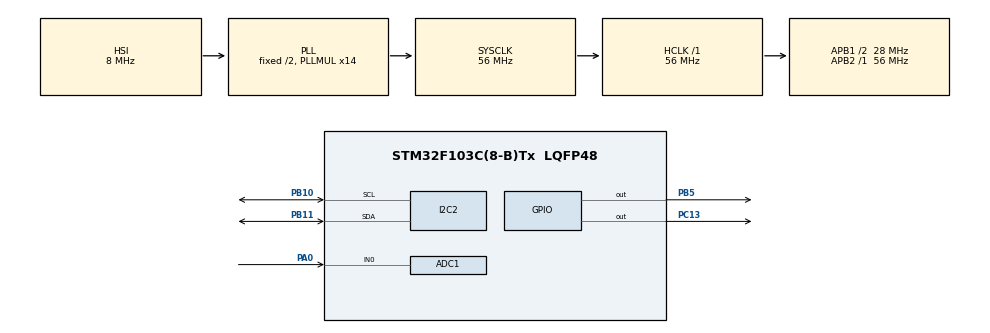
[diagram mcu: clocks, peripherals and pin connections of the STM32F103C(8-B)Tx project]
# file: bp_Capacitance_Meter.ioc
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ADC1.Channel-0\#ChannelRegularConversion=ADC_CHANNEL_0
ADC1.NbrOfConversionFlag=1
ADC1.Rank-0\#ChannelRegularConversion=1
ADC1.SamplingTime-0\#ChannelRegularConversion=ADC_SAMPLETIME_1CYCLE_5
ADC1.master=1
I2C2.I2C_Mode=I2C_Fast
Mcu.Family=STM32F1
Mcu.Name=STM32F103C(8-B)Tx
Mcu.Package=LQFP48
NVIC.PriorityGroup=NVIC_PRIORITYGROUP_4
NVIC.TIM2_IRQn=true\:0\:0\:false\:false\:true\:true
PA0-WKUP.Signal=ADCx_IN0
PA13.Mode=Serial_Wire
PA13.Signal=SYS_JTMS-SWDIO
PA14.Mode=Serial_Wire
PA14.Signal=SYS_JTCK-SWCLK
PB10.Mode=I2C
PB10.Signal=I2C2_SCL
PB11.Mode=I2C
PB11.Signal=I2C2_SDA
PB5.Signal=GPIO_Output
PC13-TAMPER-RTC.Signal=GPIO_Output
ProjectManager.HeapSize=0x200
ProjectManager.StackSize=0x400
ProjectManager.TargetToolchain=TrueSTUDIO
RCC.ADCPresc=RCC_ADCPCLK2_DIV4
RCC.AHBFreq_Value=56000000
RCC.APB1CLKDivider=RCC_HCLK_DIV2
RCC.APB1Freq_Value=28000000
RCC.APB1TimFreq_Value=56000000
RCC.APB2Freq_Value=56000000
RCC.APB2TimFreq_Value=56000000
RCC.HCLKFreq_Value=56000000
RCC.PLLMUL=RCC_PLL_MUL14
RCC.SYSCLKFreq_VALUE=56000000
RCC.SYSCLKSource=RCC_SYSCLKSOURCE_PLLCLK
RCC.USBFreq_Value=56000000
SH.ADCx_IN0.0=ADC1_IN0,IN0
TIM2.Period=63
TIM2.Prescaler=27
VP_TIM2_VS_ClockSourceINT.Mode=Internal
board=custom

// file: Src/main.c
/* USER CODE BEGIN Header */
/**
  ******************************************************************************
  * @file           : main.c
  * @brief          : Main program body
  ******************************************************************************
  ** This notice applies to any and all portions of this file
  * that are not between comment pairs USER CODE BEGIN and
  * USER CODE END. Other portions of this file, whether
  * inserted by the user or by software development tools
  * are owned by their respective copyright owners.
  *
  * COPYRIGHT(c) 2019 STMicroelectronics
  *
  * Redistribution and use in source and binary forms, with or without modification,
  * are permitted provided that the following conditions are met:
  *   1. Redistributions of source code must retain the above copyright notice,
  *      this list of conditions and the following disclaimer.
  *   2. Redistributions in binary form must reproduce the above copyright notice,
  *      this list of conditions and the following disclaimer in the documentation
  *      and/or other materials provided with the distribution.
  *   3. Neither the name of STMicroelectronics nor the names of its contributors
  *      may be used to endorse or promote products derived from this software
  *      without specific prior written permission.
  *
  * THIS SOFTWARE IS PROVIDED BY THE COPYRIGHT HOLDERS AND CONTRIBUTORS "AS IS"
  * AND ANY EXPRESS OR IMPLIED WARRANTIES, INCLUDING, BUT NOT LIMITED TO, THE
  * IMPLIED WARRANTIES OF MERCHANTABILITY AND FITNESS FOR A PARTICULAR PURPOSE ARE
  * DISCLAIMED. IN NO EVENT SHALL THE COPYRIGHT HOLDER OR CONTRIBUTORS BE LIABLE
  * FOR ANY DIRECT, INDIRECT, INCIDENTAL, SPECIAL, EXEMPLARY, OR CONSEQUENTIAL
  * DAMAGES (INCLUDING, BUT NOT LIMITED TO, PROCUREMENT OF SUBSTITUTE GOODS OR
  * SERVICES; LOSS OF USE, DATA, OR PROFITS; OR BUSINESS INTERRUPTION) HOWEVER
  * CAUSED AND ON ANY THEORY OF LIABILITY, WHETHER IN CONTRACT, STRICT LIABILITY,
  * OR TORT (INCLUDING NEGLIGENCE OR OTHERWISE) ARISING IN ANY WAY OUT OF THE USE
  * OF THIS SOFTWARE, EVEN IF ADVISED OF THE POSSIBILITY OF SUCH DAMAGE.
  *
  ******************************************************************************
  */
/* USER CODE END Header */

#include "main.h"

/* USER CODE BEGIN Includes */
#include "ssd1306.h"
/* USER CODE END Includes */

/* USER CODE BEGIN PD */
#define TEST_MAX 10
/* USER CODE END PD */

ADC_HandleTypeDef hadc1;

I2C_HandleTypeDef hi2c2;

TIM_HandleTypeDef htim2;

void SystemClock_Config(void);
static void MX_GPIO_Init(void);
static void MX_TIM2_Init(void);
static void MX_ADC1_Init(void);
static void MX_I2C2_Init(void);
/* USER CODE BEGIN PFP */
void test_Capacitor(void);
void discharge_cap(void);
/* USER CODE END PFP */

/* USER CODE BEGIN 0 */
static uint32_t cuenta = 0;
static uint16_t data_adc = 0;
static uint16_t cuenta_array[TEST_MAX];
static uint8_t n_test = 0;

static uint8_t charge_flag = 0;
static uint8_t discharge_flag = 0;

/* USER CODE END 0 */

int main(void)
{

  /* MCU Configuration--------------------------------------------------------*/

  /* Reset of all peripherals, Initializes the Flash interface and the Systick. */
  HAL_Init();

  /* Configure the system clock */
  SystemClock_Config();

  /* Initialize all configured peripherals */
  MX_GPIO_Init();
  MX_TIM2_Init();
  MX_ADC1_Init();
  MX_I2C2_Init();
  /* USER CODE BEGIN 2 */
  set_oled_addr(0x78);
  ssd1306_sel_I2C(&hi2c2);
  SSD1306_Init ();
  SSD1306_GotoXY(20, 0);
  SSD1306_Puts("...", &Font_11x18, 1);
  SSD1306_UpdateScreen();

  HAL_ADCEx_Calibration_Start(&hadc1);

  HAL_GPIO_WritePin(GPIOB, GPIO_PIN_5, 1);
  HAL_Delay(200);
  discharge_cap();

  /* USER CODE END 2 */

  /* Infinite loop */
  /* USER CODE BEGIN WHILE */
  while (1)
  {
//	  HAL_Delay(500);
//	  HAL_GPIO_TogglePin(GPIOC, GPIO_PIN_13);
    /* USER CODE END WHILE */

  }
}

void SystemClock_Config(void)
{
  RCC_OscInitTypeDef RCC_OscInitStruct = {0};
  RCC_ClkInitTypeDef RCC_ClkInitStruct = {0};
  RCC_PeriphCLKInitTypeDef PeriphClkInit = {0};

  /**Initializes the CPU, AHB and APB busses clocks
  */
  RCC_OscInitStruct.OscillatorType = RCC_OSCILLATORTYPE_HSI;
  RCC_OscInitStruct.HSIState = RCC_HSI_ON;
  RCC_OscInitStruct.HSICalibrationValue = RCC_HSICALIBRATION_DEFAULT;
  RCC_OscInitStruct.PLL.PLLState = RCC_PLL_ON;
  RCC_OscInitStruct.PLL.PLLSource = RCC_PLLSOURCE_HSI_DIV2;
  RCC_OscInitStruct.PLL.PLLMUL = RCC_PLL_MUL14;
  if (HAL_RCC_OscConfig(&RCC_OscInitStruct) != HAL_OK)
  {
    Error_Handler();
  }
  /**Initializes the CPU, AHB and APB busses clocks
  */
  RCC_ClkInitStruct.ClockType = RCC_CLOCKTYPE_HCLK|RCC_CLOCKTYPE_SYSCLK
                              |RCC_CLOCKTYPE_PCLK1|RCC_CLOCKTYPE_PCLK2;
  RCC_ClkInitStruct.SYSCLKSource = RCC_SYSCLKSOURCE_PLLCLK;
  RCC_ClkInitStruct.AHBCLKDivider = RCC_SYSCLK_DIV1;
  RCC_ClkInitStruct.APB1CLKDivider = RCC_HCLK_DIV2;
  RCC_ClkInitStruct.APB2CLKDivider = RCC_HCLK_DIV1;

  if (HAL_RCC_ClockConfig(&RCC_ClkInitStruct, FLASH_LATENCY_2) != HAL_OK)
  {
    Error_Handler();
  }
  PeriphClkInit.PeriphClockSelection = RCC_PERIPHCLK_ADC;
  PeriphClkInit.AdcClockSelection = RCC_ADCPCLK2_DIV4;
  if (HAL_RCCEx_PeriphCLKConfig(&PeriphClkInit) != HAL_OK)
  {
    Error_Handler();
  }
}

static void MX_ADC1_Init(void)
{

  ADC_ChannelConfTypeDef sConfig = {0};

  /**Common config
  */
  hadc1.Instance = ADC1;
  hadc1.Init.ScanConvMode = ADC_SCAN_DISABLE;
  hadc1.Init.ContinuousConvMode = DISABLE;
  hadc1.Init.DiscontinuousConvMode = DISABLE;
  hadc1.Init.ExternalTrigConv = ADC_SOFTWARE_START;
  hadc1.Init.DataAlign = ADC_DATAALIGN_RIGHT;
  hadc1.Init.NbrOfConversion = 1;
  if (HAL_ADC_Init(&hadc1) != HAL_OK)
  {
    Error_Handler();
  }
  /**Configure Regular Channel
  */
  sConfig.Channel = ADC_CHANNEL_0;
  sConfig.Rank = ADC_REGULAR_RANK_1;
  sConfig.SamplingTime = ADC_SAMPLETIME_1CYCLE_5;
  if (HAL_ADC_ConfigChannel(&hadc1, &sConfig) != HAL_OK)
  {
    Error_Handler();
  }

}

static void MX_I2C2_Init(void)
{

  hi2c2.Instance = I2C2;
  hi2c2.Init.ClockSpeed = 400000;
  hi2c2.Init.DutyCycle = I2C_DUTYCYCLE_2;
  hi2c2.Init.OwnAddress1 = 0;
  hi2c2.Init.AddressingMode = I2C_ADDRESSINGMODE_7BIT;
  hi2c2.Init.DualAddressMode = I2C_DUALADDRESS_DISABLE;
  hi2c2.Init.OwnAddress2 = 0;
  hi2c2.Init.GeneralCallMode = I2C_GENERALCALL_DISABLE;
  hi2c2.Init.NoStretchMode = I2C_NOSTRETCH_DISABLE;
  if (HAL_I2C_Init(&hi2c2) != HAL_OK)
  {
    Error_Handler();
  }

}

static void MX_TIM2_Init(void)
{

  TIM_ClockConfigTypeDef sClockSourceConfig = {0};
  TIM_MasterConfigTypeDef sMasterConfig = {0};

  htim2.Instance = TIM2;
  htim2.Init.Prescaler = 27;
  htim2.Init.CounterMode = TIM_COUNTERMODE_UP;
  htim2.Init.Period = 63;
  htim2.Init.ClockDivision = TIM_CLOCKDIVISION_DIV1;
  htim2.Init.AutoReloadPreload = TIM_AUTORELOAD_PRELOAD_DISABLE;
  if (HAL_TIM_Base_Init(&htim2) != HAL_OK)
  {
    Error_Handler();
  }
  sClockSourceConfig.ClockSource = TIM_CLOCKSOURCE_INTERNAL;
  if (HAL_TIM_ConfigClockSource(&htim2, &sClockSourceConfig) != HAL_OK)
  {
    Error_Handler();
  }
  sMasterConfig.MasterOutputTrigger = TIM_TRGO_RESET;
  sMasterConfig.MasterSlaveMode = TIM_MASTERSLAVEMODE_DISABLE;
  if (HAL_TIMEx_MasterConfigSynchronization(&htim2, &sMasterConfig) != HAL_OK)
  {
    Error_Handler();
  }

}

static void MX_GPIO_Init(void)
{
  GPIO_InitTypeDef GPIO_InitStruct = {0};

  /* GPIO Ports Clock Enable */
  __HAL_RCC_GPIOC_CLK_ENABLE();
  __HAL_RCC_GPIOA_CLK_ENABLE();
  __HAL_RCC_GPIOB_CLK_ENABLE();

  /*Configure GPIO pin Output Level */
  HAL_GPIO_WritePin(GPIOC, GPIO_PIN_13, GPIO_PIN_RESET);

  /*Configure GPIO pin Output Level */
  HAL_GPIO_WritePin(GPIOB, GPIO_PIN_5, GPIO_PIN_RESET);

  /*Configure GPIO pin : PC13 */
  GPIO_InitStruct.Pin = GPIO_PIN_13;
  GPIO_InitStruct.Mode = GPIO_MODE_OUTPUT_PP;
  GPIO_InitStruct.Pull = GPIO_NOPULL;
  GPIO_InitStruct.Speed = GPIO_SPEED_FREQ_LOW;
  HAL_GPIO_Init(GPIOC, &GPIO_InitStruct);

  /*Configure GPIO pin : PB5 */
  GPIO_InitStruct.Pin = GPIO_PIN_5;
  GPIO_InitStruct.Mode = GPIO_MODE_OUTPUT_PP;
  GPIO_InitStruct.Pull = GPIO_NOPULL;
  GPIO_InitStruct.Speed = GPIO_SPEED_FREQ_LOW;
  HAL_GPIO_Init(GPIOB, &GPIO_InitStruct);

}
void discharge_cap(void){
	HAL_GPIO_WritePin(GPIOB, GPIO_PIN_5, 0);
	discharge_flag = 1;
	HAL_TIM_Base_Start_IT(&htim2);
}
void test_Capacitor(void){

	if (n_test < TEST_MAX){
		HAL_GPIO_WritePin(GPIOB, GPIO_PIN_5, 1);
		cuenta = 0;
		charge_flag = 1;
		HAL_TIM_Base_Start_IT(&htim2);
	}
	else {
		double capacity = 0;
		for (uint8_t i=0; i<TEST_MAX; i++){
			capacity = (capacity*i + cuenta_array[i])/(i+1);
		}
		SSD1306_Putdouble(capacity*0.541,1, 1);
		SSD1306_GotoXY(96, 0);
		SSD1306_Puts("nF", &Font_11x18, 1);
		SSD1306_UpdateScreen();
	}
}

/* USER CODE BEGIN 4 */
void HAL_TIM_PeriodElapsedCallback(TIM_HandleTypeDef *htim){
	if(htim==&htim2){
		HAL_ADC_Start(&hadc1);
		HAL_ADC_PollForConversion(&hadc1, 1000);
		data_adc = HAL_ADC_GetValue(&hadc1);
		HAL_ADC_Stop(&hadc1);

		if (charge_flag == 1){
			cuenta++;
			if (data_adc > 2588){
				HAL_TIM_Base_Stop_IT(&htim2);
				HAL_GPIO_WritePin(GPIOB, GPIO_PIN_5, 0);
				cuenta_array[n_test] = cuenta;
				n_test++;
				charge_flag = 0;
				discharge_cap();
			}

		}
		if (discharge_flag == 1){
			if (data_adc < 1507){
				HAL_TIM_Base_Stop_IT(&htim2);
				discharge_flag = 0;
				test_Capacitor();
			}
		}
	}
}
/* USER CODE END 4 */

void Error_Handler(void)
{
}

/************************ (C) COPYRIGHT STMicroelectronics *****END OF FILE****/
